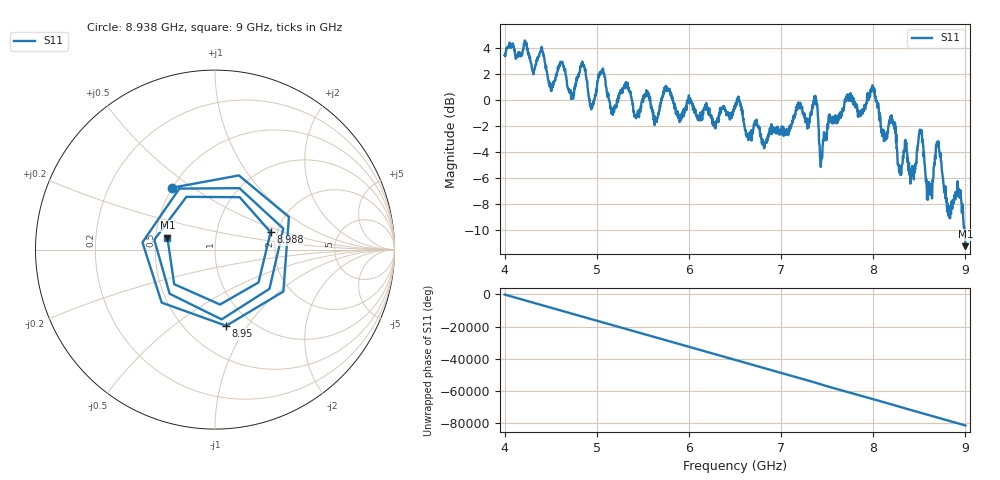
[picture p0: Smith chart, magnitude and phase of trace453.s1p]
! Created with skrf 1.8.0 (http://scikit-rf.org).
# Hz S RI R 50.0
!freq ReS11 ImS11
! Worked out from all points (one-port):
!   1601 points, 4 GHz to 9 GHz, reference 50 ohm
!   lowest |S11| = -11.3 dB at 9 GHz (marker M1), VSWR 1.75, Z = 28.8 + j4.19 ohm
!   |S11| at or under -10 dB: 8.989175 GHz to end of sweep
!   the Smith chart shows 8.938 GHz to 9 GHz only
!   S11 on the Smith chart (normalised r, x): 8.938 GHz: 0.50, +0.41; 8.95 GHz: 0.77, -0.80; 8.988 GHz: 1.84, +0.40; 9 GHz: 0.58, +0.08
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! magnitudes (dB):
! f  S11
! 4 GHz  3.4
! 4.625 GHz  2.9
! 4.728 GHz  0.3
! 4.853 GHz  2.7
! 4.944 GHz  -0.3
! 5.05 GHz  2.2
! 5.166 GHz  -0.7
! 5.25 GHz  0.4
! 5.875 GHz  -0.9
! 6.5 GHz  -0.4
! 6.812 GHz  -3.3
! 7.125 GHz  -1.6
! 7.372 GHz  0.3
! 7.438 GHz  -4.6
! 7.75 GHz  0.1
! 7.994 GHz  1.1
! 8.112 GHz  -2.3
! 8.219 GHz  -1.8
! 8.288 GHz  -5.5
! 8.375 GHz  -4.4
! 8.516 GHz  -2.6
! 8.6 GHz  -6.6
! 8.706 GHz  -3.2
! 8.819 GHz  -8.9
! 8.938 GHz  -7.5
! 8.95 GHz  -7.3
! 8.988 GHz  -9.8
! 9 GHz  -11.3
